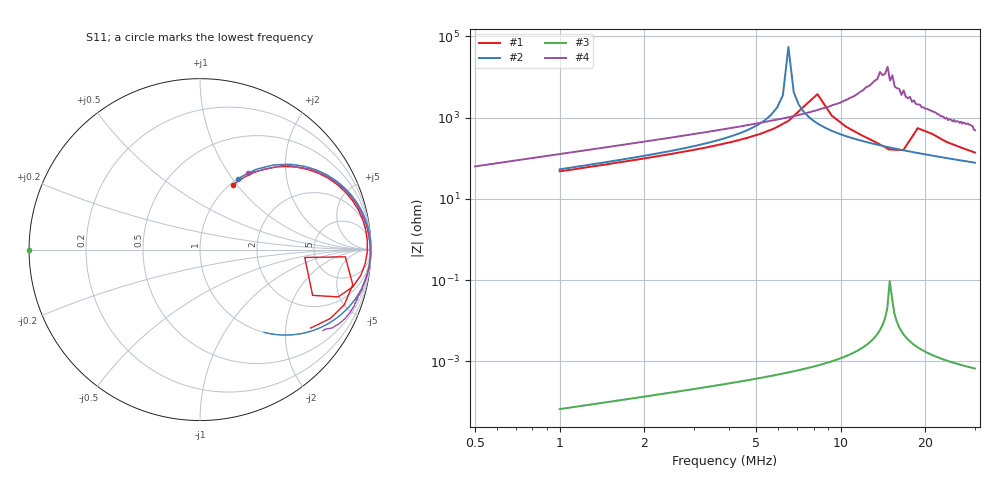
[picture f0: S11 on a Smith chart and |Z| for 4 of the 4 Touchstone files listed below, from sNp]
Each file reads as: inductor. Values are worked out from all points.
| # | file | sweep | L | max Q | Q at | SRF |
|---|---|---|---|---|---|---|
| 1 | antenna-adapter2.s2p | 1 MHz to 30 MHz | 7.36 uH | 37 | 1.798 MHz | 7.343 MHz |
| 2 | lrc-net.s2p | 1 MHz to 30 MHz | 8.25 uH | - | - | 6.51 MHz |
| 3 | octave-lcr.s2p | 1 MHz to 30 MHz | 10.6 pH | - | - | 15.13 MHz |
| 4 | temp.s2p | 500 kHz to 30 MHz | 20 uH | 238 | 500 kHz | 14.37 MHz |
